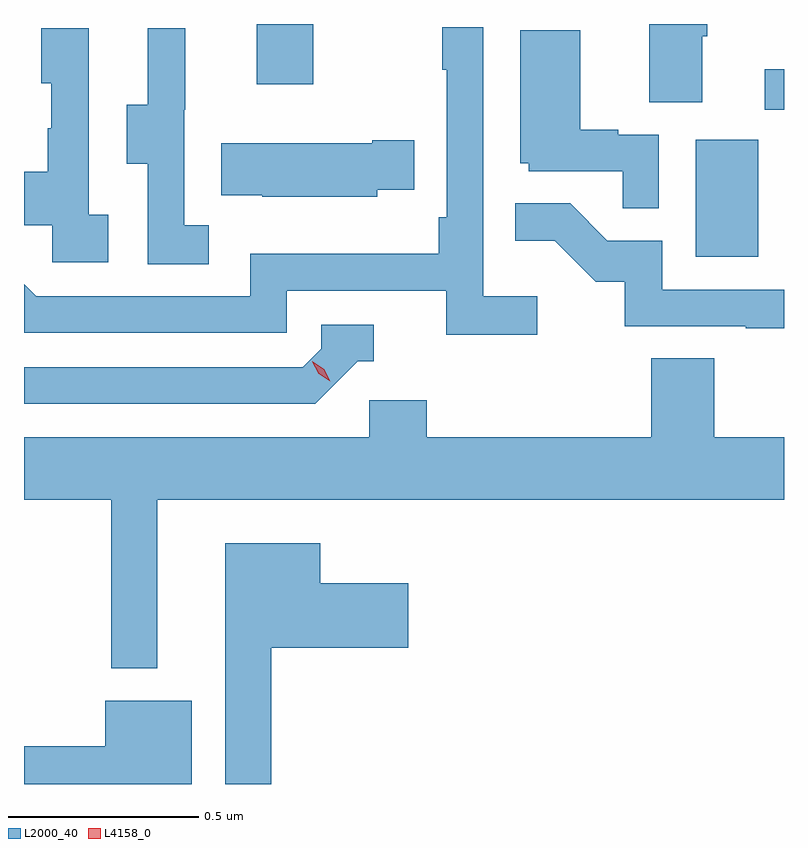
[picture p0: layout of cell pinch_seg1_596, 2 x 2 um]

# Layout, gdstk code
import gdstk
lib = gdstk.Library(unit=1e-6, precision=1e-09)
def R(c, l, rs):  # rectangles x0, y0, x1, y1
    for r in rs: c.add(gdstk.rectangle(r[:2], r[2:], *l))
def P(c, l, *ps):  # polygons
    for p in ps: c.add(gdstk.Polygon(p, *l))
L2000_40 = (2000, 40)
L4158_0 = (4158, 0)

pinch_seg1_596 = lib.new_cell('pinch_seg1_596')
R(pinch_seg1_596, L2000_40, [(1034.936,507.084,1035.1,507.391), (1035.117,507.471,1035.168,507.577), (1033.781,507.537,1033.929,507.696)])
P(pinch_seg1_596, L2000_40, [(1034.953,507.664),(1034.966,507.664),(1034.966,507.696),(1034.813,507.696),(1034.813,507.49),(1034.953,507.49)],
  [(1034.518,506.98),(1034.376,506.98),(1034.376,507.688),(1034.268,507.688),(1034.268,507.575),(1034.28,507.575),(1034.28,507.187),(1034.26,507.187),(1034.26,507.091),(1033.764,507.091),(1033.764,506.979),(1033.2,506.979),(1033.168,507.011),(1033.168,506.883),(1033.86,506.883),(1033.86,506.994),(1034.279,506.994),(1034.279,506.878),(1034.518,506.878)],
  [(1033.654,507.167),(1033.59,507.167),(1033.59,507.471),(1033.592,507.471),(1033.592,507.685),(1033.493,507.685),(1033.493,507.483),(1033.439,507.483),(1033.439,507.328),(1033.494,507.328),(1033.494,507.064),(1033.654,507.064)],
  [(1033.39,507.194),(1033.338,507.194),(1033.338,507.685),(1033.214,507.685),(1033.214,507.54),(1033.24,507.54),(1033.24,507.422),(1033.23,507.422),(1033.23,507.307),(1033.168,507.307),(1033.168,507.167),(1033.242,507.167),(1033.242,507.069),(1033.39,507.069)],
  [(1034.838,507.405),(1034.732,507.405),(1034.732,507.418),(1034.632,507.418),(1034.632,507.679),(1034.474,507.679),(1034.474,507.33),(1034.496,507.33),(1034.496,507.309),(1034.743,507.309),(1034.743,507.211),(1034.838,507.211)],
  [(1034.097,507.26),(1034.195,507.26),(1034.195,507.39),(1034.084,507.39),(1034.084,507.382),(1033.687,507.382),(1033.687,507.245),(1033.795,507.245),(1033.795,507.242),(1034.097,507.242)],
  [(1035.168,506.997),(1034.847,506.997),(1034.847,507.126),(1034.703,507.126),(1034.605,507.224),(1034.461,507.224),(1034.461,507.125),(1034.565,507.125),(1034.672,507.018),(1034.749,507.018),(1034.749,506.901),(1035.067,506.901),(1035.067,506.896),(1035.168,506.896)],
  [(1034.046,506.808),(1034.089,506.808),(1034.089,506.904),(1033.95,506.904),(1033.95,506.841),(1033.902,506.793),(1033.168,506.793),(1033.168,506.697),(1033.935,506.697)],
  [(1033.519,506.444),(1035.168,506.444),(1035.168,506.608),(1034.984,506.608),(1034.984,506.816),(1034.819,506.816),(1034.819,506.608),(1034.228,506.608),(1034.228,506.706),(1034.076,506.706),(1034.076,506.608),(1033.168,506.608),(1033.168,506.444),(1033.398,506.444),(1033.398,506),(1033.519,506)],
  [(1033.819,506.054),(1034.179,506.054),(1034.179,506.224),(1033.948,506.224),(1033.948,506.329),(1033.697,506.329),(1033.697,505.696),(1033.819,505.696)],
  [(1033.609,505.915),(1033.382,505.915),(1033.382,505.796),(1033.168,505.796),(1033.168,505.696),(1033.609,505.696)])
P(pinch_seg1_596, L4158_0, [(1033.974,506.756),(1033.943,506.775),(1033.926,506.807),(1033.926,506.808),(1033.927,506.808),(1033.958,506.788),(1033.974,506.756),(1033.974,506.756)])

lib.write_gds('pinch_seg1_596.gds')
